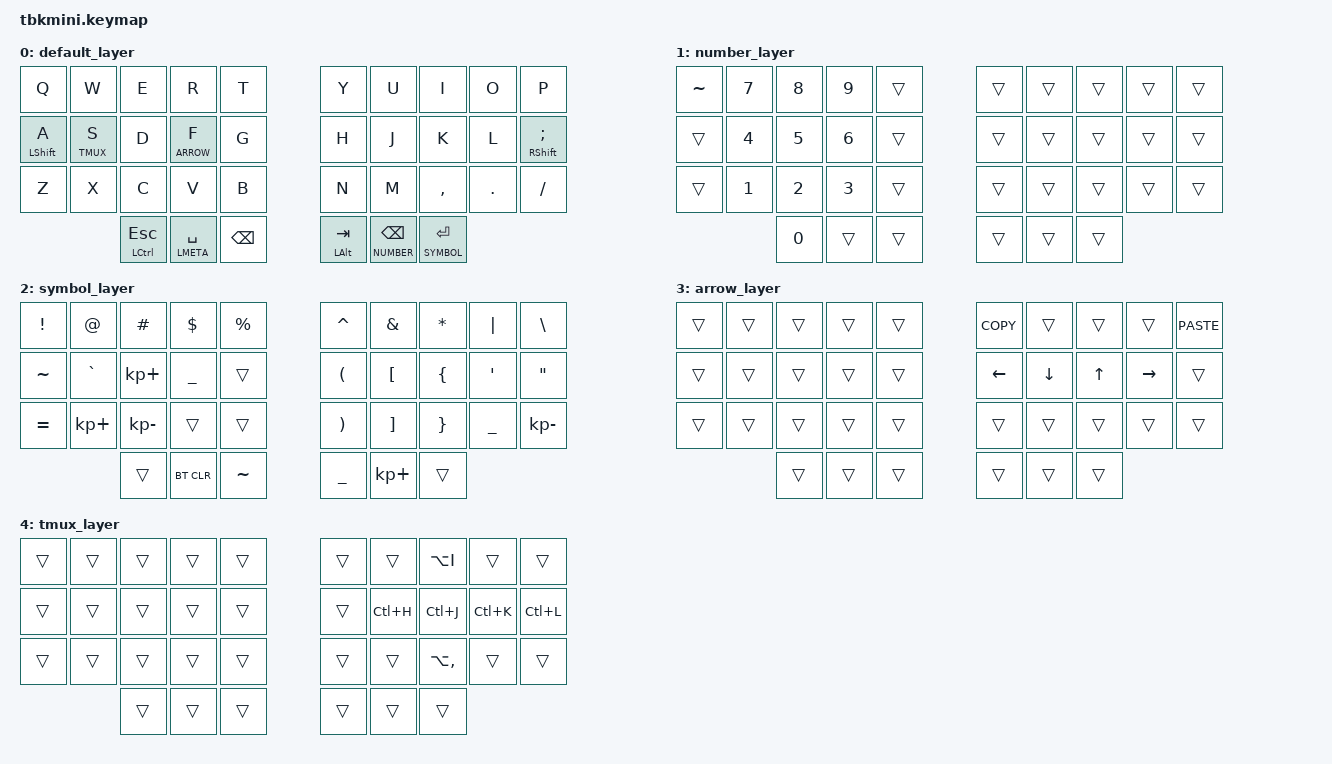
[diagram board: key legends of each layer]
#include <behaviors.dtsi>
#include <dt-bindings/zmk/keys.h>
#include <dt-bindings/zmk/bt.h>


#define DEFAULT 0
#define NUMBER 1
#define SYMBOL 2
#define ARROW 3
#define TMUX 4




/ {
  chosen {
    zmk,matrix_transform = &skeletyl_transform;
  };

  combos {
        compatible = "zmk,combos";
        combo_del {
            timeout-ms = <50>;
            key-positions = <15 16>;
            bindings = <&kp BSPC>;
        };
        combo_tab {
            timeout-ms = <50>;
            key-positions = <16 17>;
            bindings = <&kp TAB>;
        };
        
         combo_alt {
            timeout-ms = <50>;
            key-positions = <25 26>;
            bindings = <&kp LALT>;
        };
        
    };

/*                KEY POSITIONS

  ╭────────────────────╮ ╭────────────────────╮
  │  0   1   2   3   4 │ │  5   6   7   8   9 │
  │ 10  11  12  13  14 │ │ 15  16  17  18  19 │
  │ 20  21  22  23  24 │ │ 25  26  27  28  29 │
  ╰──────── 30  31  32 │ │ 33  34  35 ────────╯
              ╰────────╯ ╰────────╯            
*/


  keymap {
        compatible = "zmk,keymap";

        default_layer {
            bindings = <
              &kp Q          &kp W        &kp E         &kp R        &kp T         &kp Y     &kp U     &kp I       &kp O     &kp P
              &mt LSHIFT A   &lt TMUX S   &kp D         &lt ARROW F  &kp G         &kp H     &kp J     &kp K       &kp L     &mt RSHIFT SEMI 
              &kp Z          &kp X        &kp C         &kp V        &kp B         &kp N     &kp M     &kp COMMA   &kp DOT   &kp SLASH
                                    &mt LCTRL ESC &mt LMETA SPACE &kp BSPC         &mt LALT  TAB       &lt NUMBER  BSPC      &lt SYMBOL ENTER
            >;
        };
        number_layer {
          bindings = <
            &kp TILDE    &kp N7       &kp N8       &kp N9       &trans                         &trans    &trans    &trans    &trans    &trans
            &trans       &kp N4       &kp N5       &kp N6       &trans                         &trans    &trans    &trans    &trans    &trans
            &trans       &kp N1       &kp N2       &kp N3       &trans                         &trans    &trans    &trans    &trans    &trans
                                   &kp N0       &trans       &trans                         &trans    &trans    &trans
          >;
        };
        symbol_layer {
          bindings = <
            &kp EXCL     &kp AT       &kp HASH        &kp DOLLAR   &kp PERCENT         &kp CARET   &kp AMPERSAND   &kp ASTERISK  &kp PIPE   &kp BACKSLASH
            &kp TILDE    &kp GRAVE    &kp KP_PLUS     &kp UNDER    &trans              &kp LPAR    &kp LBKT        &kp LBRC      &kp SQT    &kp DQT  
            &kp EQUAL    &kp KP_PLUS  &kp KP_MINUS    &trans       &trans              &kp RPAR    &kp RBKT        &kp RBRC      &kp UNDER  &kp KP_MINUS  
                                      &trans          &bt BT_CLR   &kp TILDE           &kp UNDER   &kp KP_PLUS     &trans 
          >;
	    	};	
        arrow_layer {
            bindings = <
              &trans    &trans    &trans    &trans    &trans                         &kp K_COPY    &trans    &trans    &trans    &kp K_PASTE
              &trans    &trans    &trans    &trans    &trans                         &kp LEFT  &kp DOWN    &kp UP  &kp RIGHT &trans
              &trans    &trans    &trans    &trans    &trans                         &trans    &trans    &trans    &trans    &trans 
                                  &trans    &trans    &trans                         &trans    &trans    &trans  
            >;
        };
        tmux_layer {
            bindings = <
              &trans    &trans    &trans    &trans    &trans                         &trans    &trans    &kp LA(I)    &trans    &trans
              &trans    &trans    &trans    &trans    &trans                         &trans    &kp LC(H) &kp LC(J)    &kp LC(K)    &kp LC(L)
              &trans    &trans    &trans    &trans    &trans                         &trans    &trans    &kp LA(COMMA)    &trans    &trans
                                  &trans    &trans    &trans                         &trans    &trans    &trans  
            >;
        };

    };
};
